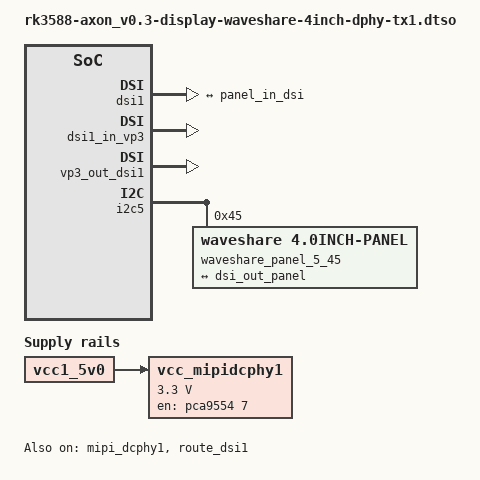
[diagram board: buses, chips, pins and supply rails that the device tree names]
//SPDX-License-Identifier: GPL-2..0+
// Copyright (C) 2024 Vicharak Computers PVT LTD

/dts-v1/;
/plugin/;

#include <dt-bindings/gpio/gpio.h>
#include <dt-bindings/pinctrl/rockchip.h>
#include <dt-bindings/display/drm_mipi_dsi.h>

&{/} {
	metadata {
		title = "Enable Waveshare 4inch DSI LCD DPHY TX1 Axon V0.3";
		compatible = "vicharak,rk3588-axon", "rockchip,rk3588";
		category = "display";
		exclusive = "waveshare_panel_5_45", "dsi1", "vp3", "dsi1_in_vp3", "vp3_out_dsi1";
		description = "Enables support for the Waveshare 4-inch LCD screen for DSI0 on\n Vicharak Axon at I2C 5 bus address 45.\n";
	};

	vcc_mipidcphy1: vcc-mipi-dcphy1 {
		compatible = "regulator-fixed";
		regulator-name = "vcc_mipidcphy1";
		regulator-min-microvolt = <3300000>;
		regulator-max-microvolt = <3300000>;
		gpio = <&pca9554 7 GPIO_ACTIVE_HIGH>;
		regulator-always-on;
		regulator-boot-on;
		enable-active-high;
		vin-supply = <&vcc1_5v0>;
	};
};

&mipi_dcphy1 {
	status = "okay";
};

&dsi1 {
	status = "okay";

	ports {
		#address-cells = <1>;
		#size-cells = <0>;

		port@1 {
			reg = <1>;

			dsi_out_panel: endpoint {
				remote-endpoint = <&panel_in_dsi>;
			};
		};
	};
};

&dsi1_in_vp2 {
	status = "disabled";
};

&dsi1_in_vp3 {
	status = "okay";
};

&vp3_out_dsi1 {
	status = "okay";
};

&route_dsi1 {
	status = "okay";
	connect = <&vp3_out_dsi1>;
};

&i2c5 {
	status = "okay";
	#address-cells = <1>;
	#size-cells = <0>;

	waveshare_panel_5_45: panel@45 {
		compatible = "waveshare,4.0inch-panel";
		reg = <0x45>;
		status = "okay";

		ports {
			#address-cells = <1>;
			#size-cells = <0>;

			port@0 {
				reg = <0>;

				panel_in_dsi: endpoint {
					remote-endpoint = <&dsi_out_panel>;
				};
			};
		};
	};
};
